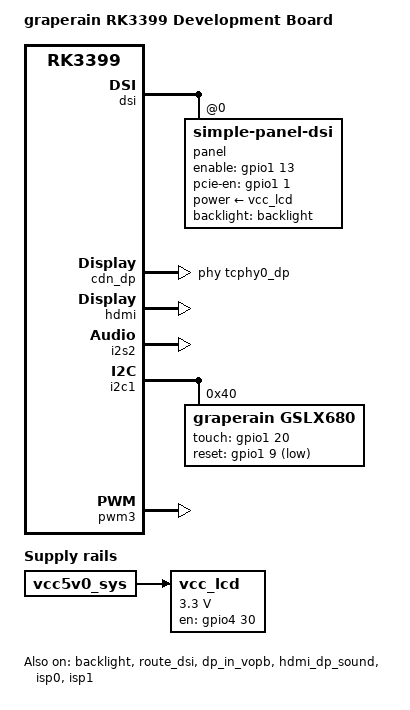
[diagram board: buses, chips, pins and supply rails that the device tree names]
/*
 * Copyright (c) 2016 Fuzhou Rockchip Electronics Co., Ltd
 *
 * This file is dual-licensed: you can use it either under the terms
 * of the GPL or the X11 license, at your option. Note that this dual
 * licensing only applies to this file, and not this project as a
 * whole.
 *
 *  a) This file is free software; you can redistribute it and/or
 *     modify it under the terms of the GNU General Public License as
 *     published by the Free Software Foundation; either version 2 of the
 *     License, or (at your option) any later version.
 *
 *     This file is distributed in the hope that it will be useful,
 *     but WITHOUT ANY WARRANTY; without even the implied warranty of
 *     MERCHANTABILITY or FITNESS FOR A PARTICULAR PURPOSE.  See the
 *     GNU General Public License for more details.
 *
 * Or, alternatively,
 *
 *  b) Permission is hereby granted, free of charge, to any person
 *     obtaining a copy of this software and associated documentation
 *     files (the "Software"), to deal in the Software without
 *     restriction, including without limitation the rights to use,
 *     copy, modify, merge, publish, distribute, sublicense, and/or
 *     sell copies of the Software, and to permit persons to whom the
 *     Software is furnished to do so, subject to the following
 *     conditions:
 *
 *     The above copyright notice and this permission notice shall be
 *     included in all copies or substantial portions of the Software.
 *
 *     THE SOFTWARE IS PROVIDED "AS IS", WITHOUT WARRANTY OF ANY KIND,
 *     EXPRESS OR IMPLIED, INCLUDING BUT NOT LIMITED TO THE WARRANTIES
 *     OF MERCHANTABILITY, FITNESS FOR A PARTICULAR PURPOSE AND
 *     NONINFRINGEMENT. IN NO EVENT SHALL THE AUTHORS OR COPYRIGHT
 *     HOLDERS BE LIABLE FOR ANY CLAIM, DAMAGES OR OTHER LIABILITY,
 *     WHETHER IN AN ACTION OF CONTRACT, TORT OR OTHERWISE, ARISING
 *     FROM, OUT OF OR IN CONNECTION WITH THE SOFTWARE OR THE USE OR
 *     OTHER DEALINGS IN THE SOFTWARE.
 */

/dts-v1/;

#include <dt-bindings/input/input.h>
#include "g3399-baseboard.dtsi"
#include "rk3399-android.dtsi"
#include "rk3399-vop-clk-set.dtsi"

/ {
	model = "graperain RK3399 Development Board";
	compatible = "rockchip,android", "graperain,g3399-development-board", "rockchip,rk3399";

	vcc_lcd: vcc-lcd {
		compatible = "regulator-fixed";
		regulator-name = "vcc_lcd";
		gpio = <&gpio4 30 GPIO_ACTIVE_HIGH>;
		startup-delay-us = <20000>;
		enable-active-high;
		regulator-min-microvolt = <3300000>;
		regulator-max-microvolt = <3300000>;
		regulator-boot-on;
		vin-supply = <&vcc5v0_sys>;
	};

/*	panel: panel {
		compatible = "simple-panel";
		backlight = <&backlight>;
		power-supply = <&vcc_lcd>;
		enable-gpios = <&gpio1 13 GPIO_ACTIVE_HIGH>;
		prepare-delay-ms = <20>;
		enable-delay-ms = <20>;

		display-timings {
			native-mode = <&timing0>;

			timing0: timing0 {
				clock-frequency = <200000000>;
				hactive = <2560>;
				vactive = <1600>;
				hfront-porch = <12>;
				hsync-len = <16>;
				hback-porch = <48>;
				vfront-porch = <8>;
				vsync-len = <4>;
				vback-porch = <8>;
				hsync-active = <0>;
				vsync-active = <0>;
				de-active = <0>;
				pixelclk-active = <0>;
			};
		};

		ports {
			panel_in: endpoint {
				remote-endpoint = <&edp_out>;
			};
		};
	};
*/

	test-power {
		status = "okay";
	};

	rt5651 {
		status = "okay";
	};
};

&backlight {
	status = "okay";
	enable-gpios = <&gpio4 29 GPIO_ACTIVE_HIGH>;
};

/*
&edp {
	status = "okay";
	force-hpd;

	ports {
		port@1 {
			reg = <1>;

			edp_out: endpoint {
				remote-endpoint = <&panel_in>;
			};
		};
	};
};

&edp_in_vopl {
	status = "disabled";
};

&route_edp {
	status = "okay";
};
*/

&dsi {
	status = "okay";
	panel@0 {
		compatible ="simple-panel-dsi";
		reg = <0>;
		backlight = <&backlight>;
		power-supply = <&vcc_lcd>;
		enable-gpios = <&gpio1 13 GPIO_ACTIVE_HIGH>;
		pcie-en-gpios = <&gpio1 1 GPIO_ACTIVE_HIGH>;
		dsi,flags = <(MIPI_DSI_MODE_VIDEO | MIPI_DSI_MODE_VIDEO_BURST |
				MIPI_DSI_MODE_VIDEO_SYNC_PULSE)>;
		dsi,format = <MIPI_DSI_FMT_RGB888>;
		dsi,lanes = <4>;
		status = "okay";

		display-timings {
			native-mode = <&timing0>;
			timing0: timing0 {
				clock-frequency = <60000000>;
				hactive = <1024>;
				vactive = <600>;
				hback-porch = <80>;
				hfront-porch = <80>;
				vback-porch = <20>;
				vfront-porch = <12>;
				hsync-len = <2>;
				vsync-len = <3>;
				hsync-active = <0>;
				vsync-active = <0>;
				de-active = <0>;
				pixelclk-active = <0>;
			};
		};
	};
};

&dsi_in_vopl {
	status = "disabled";
};

&route_dsi {
	status = "okay";
};

&cdn_dp {
	status = "okay";
	extcon = <&fusb0>;
	phys = <&tcphy0_dp>;
};

&dp_in_vopb {
	status = "okay";
};

&hdmi {
	status = "okay";
};

&hdmi_in_vopb {
	status = "disabled";
};

&hdmi_dp_sound {
	status = "okay";
};

&i2s2 {
	status = "okay";
};

&i2c1 {
	status = "okay";

/*	gt9xx: gt9xx@14 {
		compatible = "goodix,gt9xx";
		reg = <0x14>;
		touch-gpio = <&gpio1 20 IRQ_TYPE_EDGE_RISING>;
		reset-gpio = <&gpio1 9 GPIO_ACTIVE_LOW>;
		max-x = <2560>;
		max-y = <1600>;
		tp-size = <101>;
	};
*/

	gslx680@40 { 
        compatible = "graperain,gslx680";
        reg = <0x40>;
        touch-gpio = <&gpio1 20 IRQ_TYPE_EDGE_RISING>;
        reset-gpio = <&gpio1 9 GPIO_ACTIVE_LOW>;
        max-x = <1024>;
        max-y = <600>;
    };
};

&pwm3 {
	status = "okay";
	interrupts = <GIC_SPI 61 IRQ_TYPE_LEVEL_HIGH 0>;
	compatible = "rockchip,remotectl-pwm";
	remote_pwm_id = <3>;
	handle_cpu_id = <0>;

	ir_key0 {
		rockchip,usercode = <0xff40>;
		rockchip,key_table =
			<0xb2	KEY_POWER>,
			<0xe5	KEY_HOME>,
			<0xbd	KEY_BACK>,
			<0xba	KEY_MENU>,
			<0xf4	KEY_UP>,
			<0xf1	KEY_DOWN>,
			<0xef	KEY_LEFT>,
			<0xee	KEY_RIGHT>,
			<0xf2	KEY_ENTER>,
			<0xf0	KEY_REPLY>,
			<0xea	KEY_VOLUMEUP>,
			<0xe3	KEY_VOLUMEDOWN>,
			<0xbc	KEY_MUTE>,
			<0xfe	KEY_1>,
			<0xfd	KEY_2>,
			<0xfc	KEY_3>,
			<0xfb	KEY_4>,
			<0xfa	KEY_5>,
			<0xf9	KEY_6>,
			<0xf8	KEY_7>,
			<0xf7	KEY_8>,
			<0xb6	KEY_9>,
			<0xff	KEY_0>,
			<0xed	KEY_BACKSPACE>,

			<0xaf	KEY_POWER>,
			<0x8b	KEY_VOLUMEUP>,
			<0xb9	KEY_VOLUMEDOWN>;
	};
};

&vopb {
	assigned-clocks = <&cru DCLK_VOP0_DIV>;
	assigned-clock-parents = <&cru PLL_CPLL>;
};

&vopl {
	assigned-clocks = <&cru DCLK_VOP1_DIV>;
	assigned-clock-parents = <&cru PLL_VPLL>;
};

&isp0 {
	status = "okay";
};

&isp1 {
	status = "okay";
};

&isp0_mmu {
	status = "okay";
};

&isp1_mmu {
	status = "okay";
};

&pinctrl {
	lcd-panel {
		lcd_panel_reset: lcd-panel-reset {
			rockchip,pins = <4 30 RK_FUNC_GPIO &pcfg_pull_up>;
		};
	};
};

